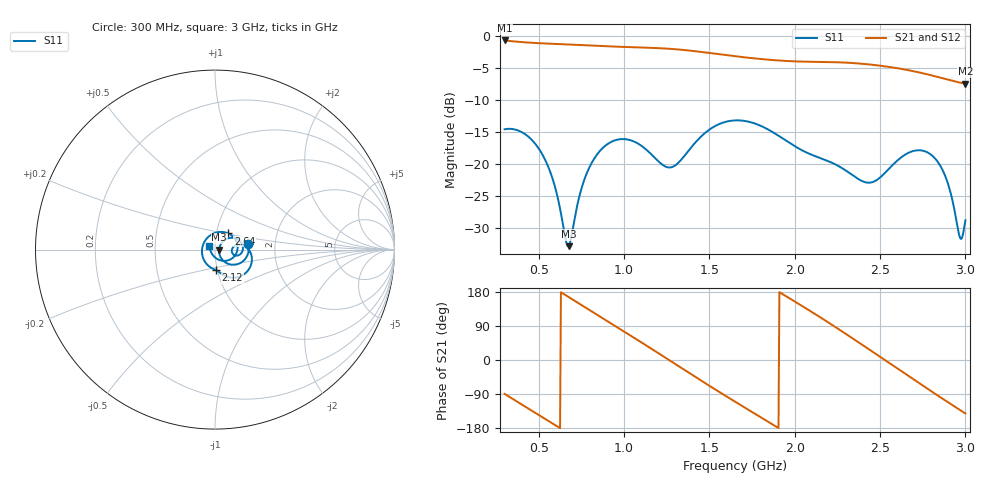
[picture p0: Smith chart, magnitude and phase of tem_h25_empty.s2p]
! tem_h25_empty
! simulated by sim/fixtures_fdtd.py (S12 = S21, S22 not computed)
# HZ S RI R 50
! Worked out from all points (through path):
!   541 points, 300 MHz to 3 GHz, reference 50 ohm
!   highest |S21| = -0.75 dB at 300 MHz (marker M1); lowest = -7.5 dB at 3 GHz (marker M2)
!   group delay of S21, straight-line fit = 790 ps
!   lowest |S11| = -32.8 dB at 675 MHz (marker M3), VSWR 1.05, Z = 52.3 + j0.0125 ohm
!   |S11| at or under -10 dB: start of sweep to end of sweep
!   |S22| runs from - to - dB; largest |S21 - S12| = 0
!   S11 on the Smith chart (normalised r, x): 300 MHz: 1.45, +0.09; 2.12 GHz: 0.99, -0.23; 2.64 GHz: 1.14, +0.21; 3 GHz: 0.94, +0.04
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3e8  0.184 0.0293  0.00957 -0.9172  0.00957 -0.9172  0 0
5.2e8  0.0857 -0.0829  -0.7581 -0.4285  -0.7581 -0.4285  0 0
6.75e8  0.0228 0.00012  -0.8289 0.2034  -0.8289 0.2034  0 0
7.5e8  0.0446 0.0458  -0.6932 0.4825  -0.6932 0.4825  0 0
8.65e8  0.1126 0.063  -0.3237 0.7646  -0.3237 0.7646  0 0
9.7e8  0.1535 0.0235  0.0916 0.8139  0.0916 0.8139  0 0
1.075e9  0.1439 -0.0228  0.4761 0.6558  0.4761 0.6558  0 0
1.2e9  0.1018 -0.0264  0.7587 0.2507  0.7587 0.2507  0 0
1.32e9  0.1017 0.0135  0.7478 -0.2209  0.7478 -0.2209  0 0
1.45e9  0.1614 0.0217  0.4402 -0.6035  0.4402 -0.6035  0 0
1.65e9  0.1982 -0.0916  -0.2351 -0.6495  -0.2351 -0.6495  0 0
1.875e9  0.0821 -0.1552  -0.6374 -0.0963  -0.6374 -0.0963  0 0
2.1e9  0.0106 -0.1173  -0.3742 0.5009  -0.3742 0.5009  0 0
2.12e9  0.00569 -0.1148  -0.3229 0.5349  -0.3229 0.5349  0 0
2.31e9  -0.0574 -0.0652  0.2525 0.5607  0.2525 0.5607  0 0
2.435e9  -0.0685 0.0198  0.5257 0.2821  0.5257 0.2821  0 0
2.55e9  -0.00549 0.0909  0.5673 -0.0662  0.5673 -0.0662  0 0
2.64e9  0.0739 0.0901  0.4523 -0.3057  0.4523 -0.3057  0 0
2.82e9  0.1024 -0.043  0.0124 -0.483  0.0124 -0.483  0 0
2.895e9  0.0374 -0.0615  -0.1605 -0.4256  -0.1605 -0.4256  0 0
2.97e9  -0.022 -0.0144  -0.2897 -0.3176  -0.2897 -0.3176  0 0
3e9  -0.0309 0.019  -0.3278 -0.2648  -0.3278 -0.2648  0 0
